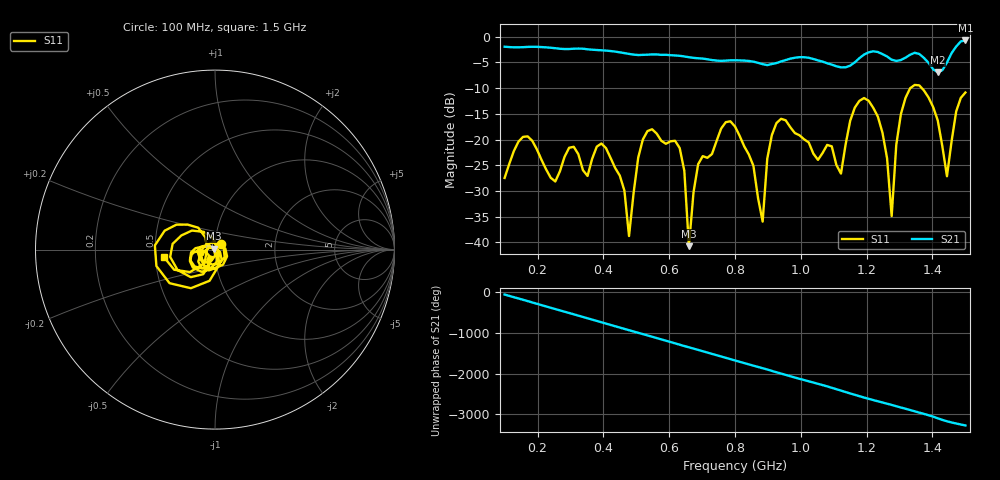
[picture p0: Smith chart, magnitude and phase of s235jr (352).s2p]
! NanoVNA-App
! Date: 2025-09-25 15:06:54
! Start: 100MHz Stop: 1,5GHz Points: 101
! S-Parameter data: F S11 S21 S12 S22
# Hz S RI R 50
!  Frequency  S11_Real  S11_Imag  S21_Real  S21_Imag  S12_Real  S12_Imag  S22_Real  S22_Imag
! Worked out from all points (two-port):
!   101 points, 100 MHz to 1.5 GHz, reference 50 ohm
!   highest |S21| = -0.75 dB at 1.5 GHz (marker M1); lowest = -6.9 dB at 1.416 GHz (marker M2)
!   |S21| within 3 dB of the highest: start of sweep to 633.9 MHz; 1.187 GHz to 1.259 GHz (71.64 MHz wide, 5.86 % of centre) (the widest 2 of 4)
!   lowest |S11| = -40.7 dB at 660 MHz (marker M3), VSWR 1.02, Z = 49.3 + j0.579 ohm
!   |S11| at or under -10 dB: start of sweep to 1.333 GHz; 1.367 GHz to end of sweep
!   S12 and S22 are empty: the file has one direction only
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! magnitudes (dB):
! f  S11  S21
! 100 MHz  -27.5  -2.0
! 170 MHz  -19.4  -2.0
! 338 MHz  -26.0  -2.4
! 408 MHz  -21.7  -2.7
! 478 MHz  -38.7  -3.4
! 520 MHz  -20.0  -3.5
! 576 MHz  -20.2  -3.5
! 632 MHz  -21.7  -3.7
! 660 MHz  -40.7  -4.0
! 688 MHz  -24.8  -4.2
! 800 MHz  -17.5  -4.6
! 884 MHz  -35.9  -5.4
! 926 MHz  -16.8  -5.1
! 1.038 GHz  -22.7  -4.4
! 1.122 GHz  -26.6  -6.0
! 1.206 GHz  -12.5  -3.1
! 1.276 GHz  -34.9  -4.5
! 1.29 GHz  -21.0  -4.7
! 1.332 GHz  -10.0  -3.5
! 1.416 GHz  -16.3  -6.9
! 1.444 GHz  -27.1  -5.0
! 1.5 GHz  -10.9  -0.8
